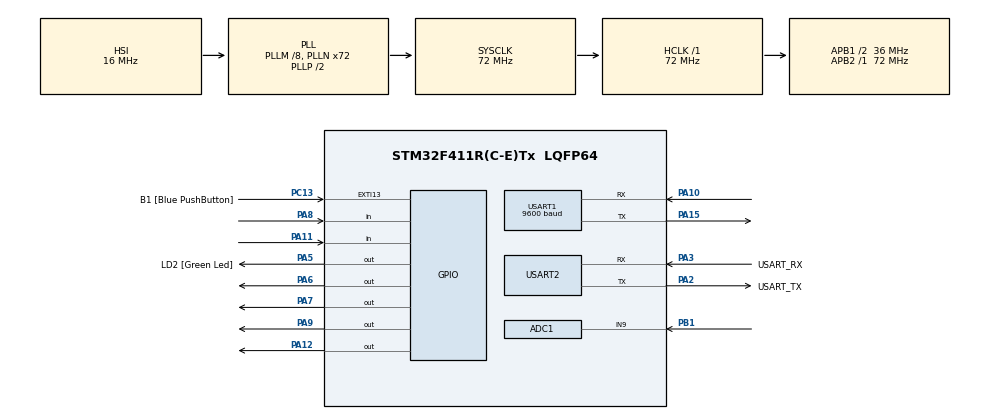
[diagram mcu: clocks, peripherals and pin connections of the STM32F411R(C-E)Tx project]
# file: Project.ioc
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ADC1.Channel-0\#ChannelRegularConversion=ADC_CHANNEL_9
ADC1.ClockPrescaler=ADC_CLOCK_SYNC_PCLK_DIV4
ADC1.ContinuousConvMode=ENABLE
ADC1.NbrOfConversionFlag=1
ADC1.Rank-0\#ChannelRegularConversion=1
ADC1.SamplingTime-0\#ChannelRegularConversion=ADC_SAMPLETIME_3CYCLES
ADC1.master=1
Mcu.Family=STM32F4
Mcu.Name=STM32F411R(C-E)Tx
Mcu.Package=LQFP64
NVIC.PriorityGroup=NVIC_PRIORITYGROUP_0
PA10.Mode=Asynchronous
PA10.Signal=USART1_RX
PA11.Signal=GPIO_Input
PA12.Signal=GPIO_Output
PA13.GPIO_Label=TMS
PA13.Mode=Serial_Wire
PA13.Signal=SYS_JTMS-SWDIO
PA14.GPIO_Label=TCK
PA14.Mode=Serial_Wire
PA14.Signal=SYS_JTCK-SWCLK
PA15.Mode=Asynchronous
PA15.Signal=USART1_TX
PA2.GPIO_Label=USART_TX
PA2.Mode=Asynchronous
PA2.Signal=USART2_TX
PA3.GPIO_Label=USART_RX
PA3.Mode=Asynchronous
PA3.Signal=USART2_RX
PA5.GPIO_Label=LD2 [Green Led]
PA5.Signal=GPIO_Output
PA6.Signal=GPIO_Output
PA7.Signal=GPIO_Output
PA8.Signal=GPIO_Input
PA9.Signal=GPIO_Output
PB1.Signal=ADCx_IN9
PB3.GPIO_Label=SWO
PB3.Signal=SYS_JTDO-SWO
PC13-ANTI_TAMP.GPIO_Label=B1 [Blue PushButton]
PC13-ANTI_TAMP.GPIO_ModeDefaultEXTI=GPIO_MODE_IT_FALLING
PC13-ANTI_TAMP.Signal=GPXTI13
PC14-OSC32_IN.Signal=RCC_OSC32_IN
PC15-OSC32_OUT.Signal=RCC_OSC32_OUT
PH0\ -\ OSC_IN.Mode=HSE-External-Oscillator
PH0\ -\ OSC_IN.Signal=RCC_OSC_IN
PH1\ -\ OSC_OUT.Mode=HSE-External-Oscillator
PH1\ -\ OSC_OUT.Signal=RCC_OSC_OUT
ProjectManager.HeapSize=0x200
ProjectManager.StackSize=0x400
ProjectManager.TargetToolchain=STM32CubeIDE
RCC.48MHZClocksFreq_Value=36000000
RCC.AHBFreq_Value=72000000
RCC.APB1CLKDivider=RCC_HCLK_DIV2
RCC.APB1Freq_Value=36000000
RCC.APB1TimFreq_Value=72000000
RCC.APB2Freq_Value=72000000
RCC.APB2TimFreq_Value=72000000
RCC.CortexFreq_Value=72000000
RCC.FLatency-AdvancedSettings=FLASH_LATENCY_2
RCC.HCLKFreq_Value=72000000
RCC.HSE_VALUE=8000000
RCC.HSI_VALUE=16000000
RCC.LSE_VALUE=32768
RCC.PLLM=8
RCC.PLLN=72
RCC.SYSCLKFreq_VALUE=72000000
RCC.SYSCLKSource=RCC_SYSCLKSOURCE_PLLCLK
RCC.VCOOutputFreq_Value=144000000
SH.ADCx_IN9.0=ADC1_IN9,IN9
TIM1.Prescaler=71
TIM2.Prescaler=71
USART1.BaudRate=9600
USART1.Parity=PARITY_NONE
USART1.VirtualMode=VM_ASYNC
USART2.VirtualMode=VM_ASYNC
VP_TIM1_VS_ClockSourceINT.Mode=Internal
VP_TIM2_VS_ClockSourceINT.Mode=Internal
board=NUCLEO-F411RE

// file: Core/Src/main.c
/* USER CODE BEGIN Header */
/**
  ******************************************************************************
  * @file           : main.c
  * @brief          : Main program body
  ******************************************************************************
  * @attention
  *
  * Copyright (c) 2022 STMicroelectronics.
  * All rights reserved.
  *
  * This software is licensed under terms that can be found in the LICENSE file
  * in the root directory of this software component.
  * If no LICENSE file comes with this software, it is provided AS-IS.
  *
  ******************************************************************************
  */
/* USER CODE END Header */
#include "main.h"

ADC_HandleTypeDef hadc1;

TIM_HandleTypeDef htim1;
TIM_HandleTypeDef htim2;

UART_HandleTypeDef huart1;
UART_HandleTypeDef huart2;

/* USER CODE BEGIN PV */
#define TRIG_PIN_1 GPIO_PIN_9//ultra sonic 1----
#define TRIG_PORT_1 GPIOA
#define ECHO_PIN_1 GPIO_PIN_8
#define ECHO_PORT_1 GPIOA
uint32_t pMillis;
uint32_t Value1_1 = 0;
uint32_t Value1_2 = 0;
uint16_t Distance1  = 0;  // cm-----------------

#define TRIG_PIN_2 GPIO_PIN_12//ultra sonic 2----
#define TRIG_PORT_2 GPIOA
#define ECHO_PIN_2 GPIO_PIN_11
#define ECHO_PORT_2 GPIOA
uint32_t Value2_1 = 0;
uint32_t Value2_2 = 0;
uint16_t Distance2  = 0;  // cm-----------------

int adcval = 0;//LDR

char firstTable = '0';
char secondTable = '0'; // 0 = not avaliable, 1 = avaliable
char res;
/* USER CODE END PV */

void SystemClock_Config(void);
static void MX_GPIO_Init(void);
static void MX_USART2_UART_Init(void);
static void MX_TIM1_Init(void);
static void MX_TIM2_Init(void);
static void MX_ADC1_Init(void);
static void MX_USART1_UART_Init(void);

/* USER CODE BEGIN 0 */
void Turn_LED_ON(uint16_t GPIO_Pin){
	if(HAL_GPIO_ReadPin(GPIOA,GPIO_Pin)==0){
		HAL_GPIO_TogglePin(GPIOA,GPIO_Pin);
	}
}
void Turn_LED_OFF(uint16_t GPIO_Pin){
	if(HAL_GPIO_ReadPin(GPIOA,GPIO_Pin)==1){
		HAL_GPIO_TogglePin(GPIOA,GPIO_Pin);
	}
}
/* USER CODE END 0 */

int main(void)
{

  /* MCU Configuration--------------------------------------------------------*/

  /* Reset of all peripherals, Initializes the Flash interface and the Systick. */
  HAL_Init();

  /* Configure the system clock */
  SystemClock_Config();

  /* Initialize all configured peripherals */
  MX_GPIO_Init();
  MX_USART2_UART_Init();
  MX_TIM1_Init();
  MX_TIM2_Init();
  MX_ADC1_Init();
  MX_USART1_UART_Init();
  /* USER CODE BEGIN 2 */
  HAL_TIM_Base_Start(&htim1);
  HAL_GPIO_WritePin(TRIG_PORT_1, TRIG_PIN_1, GPIO_PIN_RESET);  // pull the TRIG pin low
  HAL_TIM_Base_Start(&htim2);
  HAL_GPIO_WritePin(TRIG_PORT_2, TRIG_PIN_2, GPIO_PIN_RESET);  // pull the TRIG pin low

  /* USER CODE END 2 */

  /* Infinite loop */
  /* USER CODE BEGIN WHILE */
  while (1)
  {
	  //ultrasonic1---------
	  HAL_GPIO_WritePin(TRIG_PORT_1, TRIG_PIN_1, GPIO_PIN_SET);  // pull the TRIG pin HIGH
	  __HAL_TIM_SET_COUNTER(&htim1, 0);
	  while (__HAL_TIM_GET_COUNTER (&htim1) < 10);  // wait for 10 us
	  HAL_GPIO_WritePin(TRIG_PORT_1, TRIG_PIN_1, GPIO_PIN_RESET);  // pull the TRIG pin low

	  pMillis = HAL_GetTick(); // used this to avoid infinite while loop  (for timeout)
	  // wait for the echo pin to go high
	  while (!(HAL_GPIO_ReadPin (ECHO_PORT_1, ECHO_PIN_1)) && pMillis + 10 >  HAL_GetTick());
	  Value1_1 = __HAL_TIM_GET_COUNTER (&htim1);

	  pMillis = HAL_GetTick(); // used this to avoid infinite while loop (for timeout)
	  // wait for the echo pin to go low
	  while ((HAL_GPIO_ReadPin (ECHO_PORT_1, ECHO_PIN_1)) && pMillis + 50 > HAL_GetTick());
	  Value1_2 = __HAL_TIM_GET_COUNTER (&htim1);

	  Distance1 = (Value1_2-Value1_1)* 0.034/2;
	  HAL_Delay(50);
	  //ultrasonic2----------
	  HAL_GPIO_WritePin(TRIG_PORT_2, TRIG_PIN_2, GPIO_PIN_SET);  // pull the TRIG pin HIGH
	  __HAL_TIM_SET_COUNTER(&htim2, 0);
	  while (__HAL_TIM_GET_COUNTER (&htim2) < 10);  // wait for 10 us
	  HAL_GPIO_WritePin(TRIG_PORT_2, TRIG_PIN_2, GPIO_PIN_RESET);  // pull the TRIG pin low

	  pMillis = HAL_GetTick(); // used this to avoid infinite while loop  (for timeout)
	  // wait for the echo pin to go high
	  while (!(HAL_GPIO_ReadPin (ECHO_PORT_2, ECHO_PIN_2)) && pMillis + 10 >  HAL_GetTick());
	  Value2_1 = __HAL_TIM_GET_COUNTER (&htim2);

	  pMillis = HAL_GetTick(); // used this to avoid infinite while loop (for timeout)
	  // wait for the echo pin to go low
	  while ((HAL_GPIO_ReadPin (ECHO_PORT_2, ECHO_PIN_2)) && pMillis + 50 > HAL_GetTick());
	  Value2_2 = __HAL_TIM_GET_COUNTER (&htim2);

	  Distance2 = (Value2_2-Value2_1)* 0.034/2;
	  HAL_Delay(50);

	  //LDR
	  adcval = 0;//value from LDR
	  HAL_ADC_Start(&hadc1);
	  if(HAL_ADC_PollForConversion(&hadc1,1000)==HAL_OK){
		adcval = HAL_ADC_GetValue(&hadc1);
	  	HAL_Delay(40);
	  }

	  //LED control
	  if(adcval<=2300){
		  if(Distance1<=40){
			  Turn_LED_ON(GPIO_PIN_6);//LED1
		  }else{
			  Turn_LED_OFF(GPIO_PIN_6);//LED1
		  }
		  if(Distance2<=40){
			  Turn_LED_ON(GPIO_PIN_7);//LED2
		  }else{
			  Turn_LED_OFF(GPIO_PIN_7);//LED2
		  }
	  }else{
		  Turn_LED_OFF(GPIO_PIN_6);//LED1
		  Turn_LED_OFF(GPIO_PIN_7);//LED2
	  }

	  //transmit data
	  firstTable  = (Distance1<=40)? '0':'1';
	  secondTable  = (Distance2<=40)? '0':'1';

	  if(firstTable == '0' && secondTable == '0'){
		  res = '0';
	  }else if(firstTable == '0' && secondTable == '1'){
		  res = '1';
	  }else if(firstTable == '1' && secondTable == '0'){
		  res = '2';
	  }else if(firstTable = '1' && secondTable == '1'){
		  res = '3';
	  }
	  HAL_UART_Transmit(&huart1, &res, 1, 100);
    /* USER CODE END WHILE */

  }
}

void SystemClock_Config(void)
{
  RCC_OscInitTypeDef RCC_OscInitStruct = {0};
  RCC_ClkInitTypeDef RCC_ClkInitStruct = {0};

  /** Configure the main internal regulator output voltage
  */
  __HAL_RCC_PWR_CLK_ENABLE();
  __HAL_PWR_VOLTAGESCALING_CONFIG(PWR_REGULATOR_VOLTAGE_SCALE1);
  /** Initializes the RCC Oscillators according to the specified parameters
  * in the RCC_OscInitTypeDef structure.
  */
  RCC_OscInitStruct.OscillatorType = RCC_OSCILLATORTYPE_HSI;
  RCC_OscInitStruct.HSIState = RCC_HSI_ON;
  RCC_OscInitStruct.HSICalibrationValue = RCC_HSICALIBRATION_DEFAULT;
  RCC_OscInitStruct.PLL.PLLState = RCC_PLL_ON;
  RCC_OscInitStruct.PLL.PLLSource = RCC_PLLSOURCE_HSI;
  RCC_OscInitStruct.PLL.PLLM = 8;
  RCC_OscInitStruct.PLL.PLLN = 72;
  RCC_OscInitStruct.PLL.PLLP = RCC_PLLP_DIV2;
  RCC_OscInitStruct.PLL.PLLQ = 4;
  if (HAL_RCC_OscConfig(&RCC_OscInitStruct) != HAL_OK)
  {
    Error_Handler();
  }
  /** Initializes the CPU, AHB and APB buses clocks
  */
  RCC_ClkInitStruct.ClockType = RCC_CLOCKTYPE_HCLK|RCC_CLOCKTYPE_SYSCLK
                              |RCC_CLOCKTYPE_PCLK1|RCC_CLOCKTYPE_PCLK2;
  RCC_ClkInitStruct.SYSCLKSource = RCC_SYSCLKSOURCE_PLLCLK;
  RCC_ClkInitStruct.AHBCLKDivider = RCC_SYSCLK_DIV1;
  RCC_ClkInitStruct.APB1CLKDivider = RCC_HCLK_DIV2;
  RCC_ClkInitStruct.APB2CLKDivider = RCC_HCLK_DIV1;

  if (HAL_RCC_ClockConfig(&RCC_ClkInitStruct, FLASH_LATENCY_2) != HAL_OK)
  {
    Error_Handler();
  }
}

static void MX_ADC1_Init(void)
{

  ADC_ChannelConfTypeDef sConfig = {0};

  /** Configure the global features of the ADC (Clock, Resolution, Data Alignment and number of conversion)
  */
  hadc1.Instance = ADC1;
  hadc1.Init.ClockPrescaler = ADC_CLOCK_SYNC_PCLK_DIV4;
  hadc1.Init.Resolution = ADC_RESOLUTION_12B;
  hadc1.Init.ScanConvMode = DISABLE;
  hadc1.Init.ContinuousConvMode = ENABLE;
  hadc1.Init.DiscontinuousConvMode = DISABLE;
  hadc1.Init.ExternalTrigConvEdge = ADC_EXTERNALTRIGCONVEDGE_NONE;
  hadc1.Init.ExternalTrigConv = ADC_SOFTWARE_START;
  hadc1.Init.DataAlign = ADC_DATAALIGN_RIGHT;
  hadc1.Init.NbrOfConversion = 1;
  hadc1.Init.DMAContinuousRequests = DISABLE;
  hadc1.Init.EOCSelection = ADC_EOC_SINGLE_CONV;
  if (HAL_ADC_Init(&hadc1) != HAL_OK)
  {
    Error_Handler();
  }
  /** Configure for the selected ADC regular channel its corresponding rank in the sequencer and its sample time.
  */
  sConfig.Channel = ADC_CHANNEL_9;
  sConfig.Rank = 1;
  sConfig.SamplingTime = ADC_SAMPLETIME_3CYCLES;
  if (HAL_ADC_ConfigChannel(&hadc1, &sConfig) != HAL_OK)
  {
    Error_Handler();
  }

}

static void MX_TIM1_Init(void)
{

  TIM_ClockConfigTypeDef sClockSourceConfig = {0};
  TIM_MasterConfigTypeDef sMasterConfig = {0};

  htim1.Instance = TIM1;
  htim1.Init.Prescaler = 71;
  htim1.Init.CounterMode = TIM_COUNTERMODE_UP;
  htim1.Init.Period = 65535;
  htim1.Init.ClockDivision = TIM_CLOCKDIVISION_DIV1;
  htim1.Init.RepetitionCounter = 0;
  htim1.Init.AutoReloadPreload = TIM_AUTORELOAD_PRELOAD_DISABLE;
  if (HAL_TIM_Base_Init(&htim1) != HAL_OK)
  {
    Error_Handler();
  }
  sClockSourceConfig.ClockSource = TIM_CLOCKSOURCE_INTERNAL;
  if (HAL_TIM_ConfigClockSource(&htim1, &sClockSourceConfig) != HAL_OK)
  {
    Error_Handler();
  }
  sMasterConfig.MasterOutputTrigger = TIM_TRGO_RESET;
  sMasterConfig.MasterSlaveMode = TIM_MASTERSLAVEMODE_DISABLE;
  if (HAL_TIMEx_MasterConfigSynchronization(&htim1, &sMasterConfig) != HAL_OK)
  {
    Error_Handler();
  }

}

static void MX_TIM2_Init(void)
{

  TIM_ClockConfigTypeDef sClockSourceConfig = {0};
  TIM_MasterConfigTypeDef sMasterConfig = {0};

  htim2.Instance = TIM2;
  htim2.Init.Prescaler = 71;
  htim2.Init.CounterMode = TIM_COUNTERMODE_UP;
  htim2.Init.Period = 4294967295;
  htim2.Init.ClockDivision = TIM_CLOCKDIVISION_DIV1;
  htim2.Init.AutoReloadPreload = TIM_AUTORELOAD_PRELOAD_DISABLE;
  if (HAL_TIM_Base_Init(&htim2) != HAL_OK)
  {
    Error_Handler();
  }
  sClockSourceConfig.ClockSource = TIM_CLOCKSOURCE_INTERNAL;
  if (HAL_TIM_ConfigClockSource(&htim2, &sClockSourceConfig) != HAL_OK)
  {
    Error_Handler();
  }
  sMasterConfig.MasterOutputTrigger = TIM_TRGO_RESET;
  sMasterConfig.MasterSlaveMode = TIM_MASTERSLAVEMODE_DISABLE;
  if (HAL_TIMEx_MasterConfigSynchronization(&htim2, &sMasterConfig) != HAL_OK)
  {
    Error_Handler();
  }

}

static void MX_USART1_UART_Init(void)
{

  huart1.Instance = USART1;
  huart1.Init.BaudRate = 9600;
  huart1.Init.WordLength = UART_WORDLENGTH_8B;
  huart1.Init.StopBits = UART_STOPBITS_1;
  huart1.Init.Parity = UART_PARITY_NONE;
  huart1.Init.Mode = UART_MODE_TX_RX;
  huart1.Init.HwFlowCtl = UART_HWCONTROL_NONE;
  huart1.Init.OverSampling = UART_OVERSAMPLING_16;
  if (HAL_UART_Init(&huart1) != HAL_OK)
  {
    Error_Handler();
  }

}

static void MX_USART2_UART_Init(void)
{

  huart2.Instance = USART2;
  huart2.Init.BaudRate = 115200;
  huart2.Init.WordLength = UART_WORDLENGTH_8B;
  huart2.Init.StopBits = UART_STOPBITS_1;
  huart2.Init.Parity = UART_PARITY_NONE;
  huart2.Init.Mode = UART_MODE_TX_RX;
  huart2.Init.HwFlowCtl = UART_HWCONTROL_NONE;
  huart2.Init.OverSampling = UART_OVERSAMPLING_16;
  if (HAL_UART_Init(&huart2) != HAL_OK)
  {
    Error_Handler();
  }

}

static void MX_GPIO_Init(void)
{
  GPIO_InitTypeDef GPIO_InitStruct = {0};

  /* GPIO Ports Clock Enable */
  __HAL_RCC_GPIOC_CLK_ENABLE();
  __HAL_RCC_GPIOH_CLK_ENABLE();
  __HAL_RCC_GPIOA_CLK_ENABLE();
  __HAL_RCC_GPIOB_CLK_ENABLE();

  /*Configure GPIO pin Output Level */
  HAL_GPIO_WritePin(GPIOA, LD2_Pin|GPIO_PIN_6|GPIO_PIN_7|GPIO_PIN_9
                          |GPIO_PIN_12, GPIO_PIN_RESET);

  /*Configure GPIO pin : B1_Pin */
  GPIO_InitStruct.Pin = B1_Pin;
  GPIO_InitStruct.Mode = GPIO_MODE_IT_FALLING;
  GPIO_InitStruct.Pull = GPIO_NOPULL;
  HAL_GPIO_Init(B1_GPIO_Port, &GPIO_InitStruct);

  /*Configure GPIO pins : LD2_Pin PA6 PA7 PA9
                           PA12 */
  GPIO_InitStruct.Pin = LD2_Pin|GPIO_PIN_6|GPIO_PIN_7|GPIO_PIN_9
                          |GPIO_PIN_12;
  GPIO_InitStruct.Mode = GPIO_MODE_OUTPUT_PP;
  GPIO_InitStruct.Pull = GPIO_NOPULL;
  GPIO_InitStruct.Speed = GPIO_SPEED_FREQ_LOW;
  HAL_GPIO_Init(GPIOA, &GPIO_InitStruct);

  /*Configure GPIO pins : PA8 PA11 */
  GPIO_InitStruct.Pin = GPIO_PIN_8|GPIO_PIN_11;
  GPIO_InitStruct.Mode = GPIO_MODE_INPUT;
  GPIO_InitStruct.Pull = GPIO_NOPULL;
  HAL_GPIO_Init(GPIOA, &GPIO_InitStruct);

}

void Error_Handler(void)
{
  __disable_irq();
  while (1)
  {
  }
}
